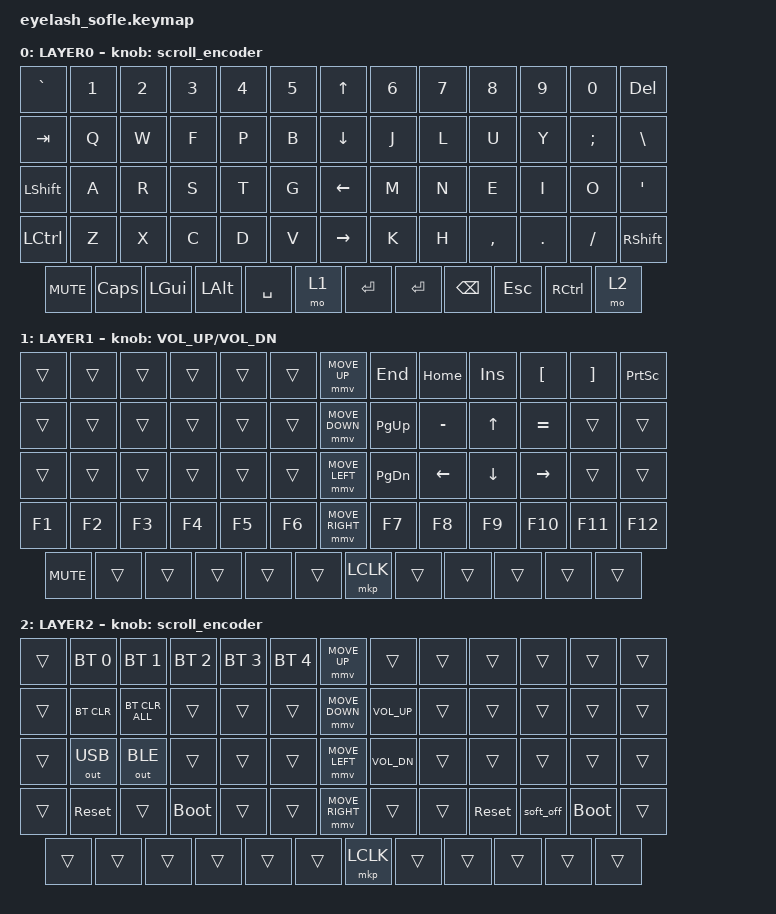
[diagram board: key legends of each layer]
#define ZMK_POINTING_DEFAULT_MOVE_VAL 1200  // 600
#define ZMK_POINTING_DEFAULT_SCRL_VAL 25   // 10

#include <input/processors.dtsi>
#include <zephyr/dt-bindings/input/input-event-codes.h>
#include <behaviors.dtsi>
#include <dt-bindings/zmk/bt.h>
#include <dt-bindings/zmk/keys.h>
#include <dt-bindings/zmk/outputs.h>
#include <dt-bindings/zmk/pointing.h>
#include <dt-bindings/zmk/rgb.h>

&mmv_input_listener { input-processors = <&zip_xy_scaler 2 1>; };

&msc_input_listener { input-processors = <&zip_scroll_scaler 2 1>; };

&msc {
    acceleration-exponent = <1>;      // 0
    time-to-max-speed-ms = <100>;       // 300
    delay-ms = <0>;                   // 0
};

&mmv {
    time-to-max-speed-ms = <500>;
    acceleration-exponent = <1>;
    trigger-period-ms = <16>;
};

&soft_off { hold-time-ms = <2000>; };

/ {
    scroll_encoder: scroll_encoder {
        compatible = "zmk,behavior-sensor-rotate";
        #sensor-binding-cells = <0>;
        bindings = <&msc SCRL_DOWN>, <&msc SCRL_UP>;

        tap-ms = <100>;
    };

    behaviors {
    };

    combos {
        compatible = "zmk,combos";

        softoff {
            bindings = <&soft_off>;
            key-positions = <14 28 40>;
        };
    };

    macros {
        COPY_WIN: COPY_WIN {
            compatible = "zmk,behavior-macro";
            label = "COPY_WIN";
            #binding-cells = <0>;
            bindings =
                <&macro_press &kp LCTRL>,
                <&macro_tap &kp C>,
                <&macro_release &kp LCTRL>;
        };

        PASTE_WIN: PASTE_WIN {
            compatible = "zmk,behavior-macro";
            label = "PASTE_WIN";
            #binding-cells = <0>;
            bindings =
                <&macro_press &kp LCTRL>,
                <&macro_tap &kp V>,
                <&macro_release &kp LCTRL>;
        };

        CUT_WIN: CUT_WIN {
            compatible = "zmk,behavior-macro";
            label = "CUT_WIN";
            #binding-cells = <0>;
            bindings =
                <&macro_press &kp LCTRL>,
                <&macro_tap &kp X>,
                <&macro_release &kp LCTRL>;
        };

        COPY_MAC: COPY_MAC {
            compatible = "zmk,behavior-macro";
            label = "COPY_MAC";
            #binding-cells = <0>;
            bindings =
                <&macro_press &kp LGUI>,
                <&macro_tap &kp C>,
                <&macro_release &kp LGUI>;
        };

        PASTE_MAC: PASTE_MAC {
            compatible = "zmk,behavior-macro";
            label = "PASTE_MAC";
            #binding-cells = <0>;
            bindings =
                <&macro_press &kp LGUI>,
                <&macro_tap &kp V>,
                <&macro_release &kp LGUI>;
        };

        MOVE_FILE_MAC: MOVE_FILE_MAC {
            compatible = "zmk,behavior-macro";
            label = "MOVE_FILE_MAC";
            #binding-cells = <0>;
            bindings =
                <&macro_press &kp LGUI>,
                <&macro_press &kp LALT>,
                <&macro_tap &kp V>,
                <&macro_release &kp LALT>,
                <&macro_release &kp LGUI>;
        };

        CLEAR_TERM: CLEAR_TERM {
            compatible = "zmk,behavior-macro";
            label = "CLEAR_TERM";
            #binding-cells = <0>;
            bindings =
                <&macro_press &kp LCTRL>,
                <&macro_tap &kp U>,
                <&macro_release &kp LCTRL>;
        };

        SHIFT_MCLK: SHIFT_MCLK {
            compatible = "zmk,behavior-macro";
            #binding-cells = <0>;
            bindings =
                <&macro_press>,
                <&kp LEFT_SHIFT>,
                <&macro_press>,
                <&mkp MB3>,
                <&macro_pause_for_release>,
                <&macro_release>,
                <&kp LEFT_SHIFT &mkp MB3>;

            label = "SHIFT_MCLK";
        };
    };

    keymap {
        compatible = "zmk,keymap";

        layer_0 {
            bindings = <
            &kp GRAVE &kp N1 &kp N2 &kp N3 &kp N4 &kp N5 &kp UP_ARROW &kp N6 &kp N7 &kp N8 &kp N9 &kp N0 &kp DELETE
            &kp TAB &kp Q &kp W &kp F &kp P &kp B &kp DOWN_ARROW &kp J &kp L &kp U &kp Y &kp SEMI &kp BSLH
            &kp LSHFT &kp A &kp R &kp S &kp T &kp G &kp LEFT_ARROW &kp M &kp N &kp E &kp I &kp O &kp APOS
            &kp LCTRL &kp Z &kp X &kp C &kp D &kp V &kp RIGHT_ARROW &kp K &kp H &kp COMMA &kp DOT &kp FSLH &kp RIGHT_SHIFT
            &kp C_MUTE &kp CAPS &kp LEFT_GUI &kp LEFT_ALT &kp SPACE &mo 1 &kp ENTER &kp ENTER &kp BACKSPACE &kp ESC &kp RCTRL &mo 2
            >;

            sensor-bindings = <&scroll_encoder>;
            display-name = "LAYER0";
        };

/*         layer0 { */
/*             bindings = < */
/* &kp ESC     &kp N1     &kp N2        &kp N3        &kp N4  &kp N5       &kp UP_ARROW     &kp N6     &kp N7     &kp N8     &kp N9           &kp N0      &kp BACKSPACE */
/* &kp TAB     &kp Q      &kp W         &kp E         &kp R   &kp T        &kp DOWN_ARROW   &kp Y      &kp U      &kp I      &kp O            &kp P       &kp BSLH */
/* &kp CAPS    &kp A      &kp S         &kp D         &kp F   &kp G        &kp LEFT_ARROW   &kp H      &kp J      &kp K      &kp L            &kp SEMI    &kp APOS */
/* &kp LSHFT   &kp Z      &kp X         &kp C         &kp V   &kp B        &kp RIGHT_ARROW  &kp N      &kp M      &kp COMMA  &kp DOT          &kp FSLH    &kp ENTER */
/* &kp C_MUTE  &kp LCTRL  &kp LEFT_GUI  &kp LEFT_ALT  &mo 1   &kp SPACE    &kp ENTER        &kp SPACE  &kp ENTER  &mo 2      &kp RIGHT_SHIFT  &kp DELETE */
/*             >; */
/**/
/*             sensor-bindings = <&scroll_encoder>; */
/*             display-name = "LAYER0"; */
/*         }; */
/**/
/*         layer_1 { */
/*             bindings = < */
/* &kp GRAVE   &kp F1           &kp F2          &kp F3           &kp F4           &kp F5             &mmv MOVE_UP     &kp F6           &kp F7           &kp F8      &kp F9     &kp F10           &trans */
/* &trans      &kp GRAVE        &mkp LCLK       &mkp MCLK        &mkp RCLK        &mkp MB4           &mmv MOVE_DOWN   &kp PG_UP        &kp END          &kp UP      &kp HOME   &kp MINUS         &kp EQUAL */
/* &trans      &kp TILDE        &trans          &trans           &trans           &mkp MB5           &mmv MOVE_LEFT   &kp PG_DN        &kp LEFT         &kp DOWN    &kp RIGHT  &kp LEFT_BRACKET  &kp RIGHT_BRACKET */
/* &trans      &rgb_ug RGB_OFF  &rgb_ug RGB_ON  &rgb_ug RGB_EFF  &rgb_ug RGB_EFR  &rgb_ug RGB_SPI    &mmv MOVE_RIGHT  &rgb_ug RGB_BRI  &rgb_ug RGB_BRD  &kp INSERT  &kp F11    &kp F12           &trans */
/* &kp C_MUTE  &trans           &trans          &trans           &trans           &trans             &mkp LCLK        &trans           &trans           &trans      &trans     &trans */
/*             >; */
/**/
/*              sensor-bindings = <&inc_dec_kp C_VOLUME_UP C_VOL_DN>; */
/*             display-name = "LAYER1"; */
/*         }; */


        layer_1 {
            bindings = <
&trans   &trans           &trans          &trans           &trans           &trans             &mmv MOVE_UP     &kp END           &kp HOME           &kp INSERT      &kp LEFT_BRACKET    &kp RIGHT_BRACKET  &kp PRINTSCREEN
&trans      &trans        &trans       &trans        &trans        &trans           &mmv MOVE_DOWN   &kp PG_UP        &kp MINUS          &kp UP      &kp EQUAL   &trans     &trans
&trans      &trans        &trans          &trans  &trans           &trans           &mmv MOVE_LEFT   &kp PG_DN        &kp LEFT         &kp DOWN    &kp RIGHT  &trans  &trans
&kp F1      &kp F2  &kp F3  &kp F4  &kp F5  &kp F6   &mmv MOVE_RIGHT  &kp F7   &kp F8  &kp F9  &kp F10    &kp F11  &kp F12
&kp C_MUTE  &trans           &trans          &trans           &trans           &trans             &mkp LCLK        &trans           &trans           &trans      &trans     &trans
            >;

            display-name = "LAYER1";
            sensor-bindings = <&inc_dec_kp C_VOLUME_UP C_VOL_DN>;
        };


/*         layer_2 { */
/*             bindings = < */
/* &kp TILDE  &bt BT_SEL 0  &bt BT_SEL 1    &bt BT_SEL 2  &bt BT_SEL 3  &bt BT_SEL 4    &mmv MOVE_UP     &kp F6  &kp F7  &kp F8      &kp F9     &kp F10      &trans */
/* &trans     &bt BT_CLR    &bt BT_CLR_ALL  &trans        &trans        &trans          &mmv MOVE_DOWN   &trans  &trans  &kp F11     &kp F12    &kp UNDER    &kp PLUS */
/* &trans     &out OUT_USB  &out OUT_BLE    &trans        &trans        &trans          &mmv MOVE_LEFT   &trans  &trans  &trans      &trans     &kp LBRC     &kp RBRC */
/* &trans     &sys_reset    &trans          &bootloader   &trans        &trans          &mmv MOVE_RIGHT  &trans  &trans  &sys_reset  &soft_off  &bootloader  &trans */
/* &trans     &trans        &trans          &trans        &trans        &trans          &mkp LCLK        &trans  &trans  &trans      &trans     &trans */
/*             >; */
/**/
/*             display-name = "LAYER2"; */
/*             sensor-bindings = <&scroll_encoder>; */
/*         }; */


        layer_2 {
            bindings = <
&trans  &bt BT_SEL 0  &bt BT_SEL 1    &bt BT_SEL 2  &bt BT_SEL 3  &bt BT_SEL 4    &mmv MOVE_UP     &trans  &trans  &trans      &trans     &trans      &trans
&trans     &bt BT_CLR    &bt BT_CLR_ALL  &trans        &trans        &trans          &mmv MOVE_DOWN   &kp C_VOLUME_UP  &trans  &trans     &trans    &trans       &trans
&trans     &out OUT_USB  &out OUT_BLE    &trans        &trans        &trans          &mmv MOVE_LEFT   &kp C_VOL_DN  &trans  &trans      &trans     &trans       &trans
&trans     &sys_reset    &trans          &bootloader   &trans        &trans          &mmv MOVE_RIGHT  &trans  &trans  &sys_reset  &soft_off  &bootloader  &trans
&trans     &trans        &trans          &trans        &trans        &trans          &mkp LCLK        &trans  &trans  &trans      &trans     &trans
            >;

            display-name = "LAYER2";
            sensor-bindings = <&scroll_encoder>;
        };
    };
};
